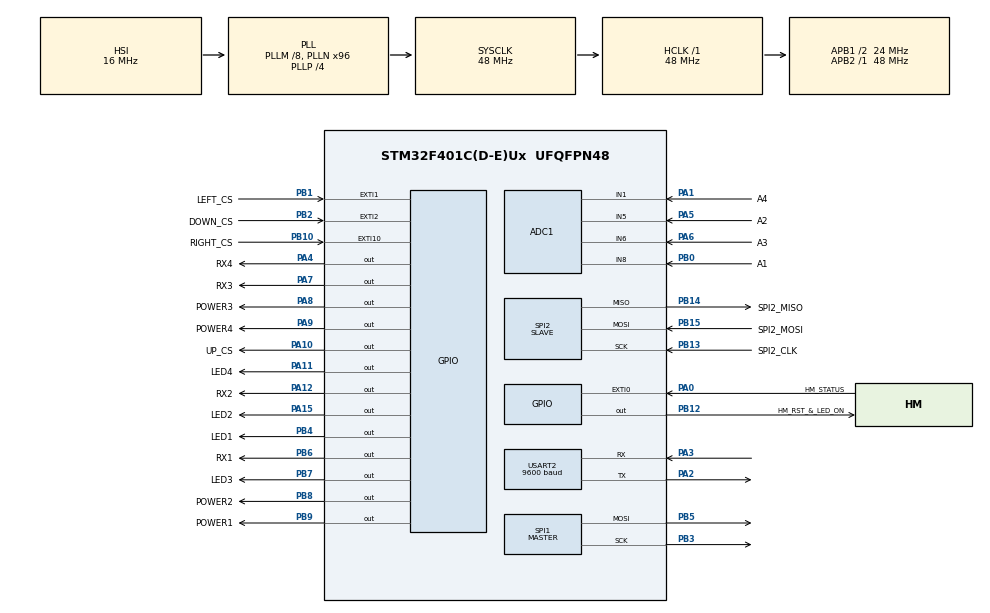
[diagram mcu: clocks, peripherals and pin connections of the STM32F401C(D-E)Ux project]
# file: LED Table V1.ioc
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ADC1.Channel-0\#ChannelRegularConversion=ADC_CHANNEL_8
ADC1.Channel-1\#ChannelRegularConversion=ADC_CHANNEL_5
ADC1.Channel-2\#ChannelRegularConversion=ADC_CHANNEL_6
ADC1.Channel-3\#ChannelRegularConversion=ADC_CHANNEL_1
ADC1.ContinuousConvMode=ENABLE
ADC1.DMAContinuousRequests=DISABLE
ADC1.InjNumberOfConversion=0
ADC1.NbrOfConversion=4
ADC1.NbrOfConversionFlag=1
ADC1.Rank-0\#ChannelRegularConversion=1
ADC1.Rank-1\#ChannelRegularConversion=2
ADC1.Rank-2\#ChannelRegularConversion=3
ADC1.Rank-3\#ChannelRegularConversion=4
ADC1.SamplingTime-0\#ChannelRegularConversion=ADC_SAMPLETIME_3CYCLES
ADC1.SamplingTime-1\#ChannelRegularConversion=ADC_SAMPLETIME_3CYCLES
ADC1.SamplingTime-2\#ChannelRegularConversion=ADC_SAMPLETIME_3CYCLES
ADC1.SamplingTime-3\#ChannelRegularConversion=ADC_SAMPLETIME_3CYCLES
ADC1.master=1
Dma.ADC1.0.Direction=DMA_PERIPH_TO_MEMORY
Dma.ADC1.0.FIFOMode=DMA_FIFOMODE_DISABLE
Dma.ADC1.0.Instance=DMA2_Stream0
Dma.ADC1.0.MemDataAlignment=DMA_MDATAALIGN_WORD
Dma.ADC1.0.MemInc=DMA_MINC_ENABLE
Dma.ADC1.0.Mode=DMA_CIRCULAR
Dma.ADC1.0.PeriphDataAlignment=DMA_PDATAALIGN_WORD
Dma.ADC1.0.PeriphInc=DMA_PINC_DISABLE
Dma.ADC1.0.Priority=DMA_PRIORITY_LOW
Dma.Request0=ADC1
Dma.Request1=SPI1_TX
Dma.Request2=USART2_RX
Dma.SPI1_TX.1.Direction=DMA_MEMORY_TO_PERIPH
Dma.SPI1_TX.1.FIFOMode=DMA_FIFOMODE_DISABLE
Dma.SPI1_TX.1.Instance=DMA2_Stream3
Dma.SPI1_TX.1.MemDataAlignment=DMA_MDATAALIGN_BYTE
Dma.SPI1_TX.1.MemInc=DMA_MINC_ENABLE
Dma.SPI1_TX.1.Mode=DMA_NORMAL
Dma.SPI1_TX.1.PeriphDataAlignment=DMA_PDATAALIGN_BYTE
Dma.SPI1_TX.1.PeriphInc=DMA_PINC_DISABLE
Dma.SPI1_TX.1.Priority=DMA_PRIORITY_LOW
Dma.USART2_RX.2.Direction=DMA_PERIPH_TO_MEMORY
Dma.USART2_RX.2.FIFOMode=DMA_FIFOMODE_DISABLE
Dma.USART2_RX.2.Instance=DMA1_Stream5
Dma.USART2_RX.2.MemDataAlignment=DMA_MDATAALIGN_BYTE
Dma.USART2_RX.2.MemInc=DMA_MINC_ENABLE
Dma.USART2_RX.2.Mode=DMA_NORMAL
Dma.USART2_RX.2.PeriphDataAlignment=DMA_PDATAALIGN_BYTE
Dma.USART2_RX.2.PeriphInc=DMA_PINC_DISABLE
Dma.USART2_RX.2.Priority=DMA_PRIORITY_LOW
Mcu.Family=STM32F4
Mcu.Name=STM32F401C(D-E)Ux
Mcu.Package=UFQFPN48
NVIC.DMA1_Stream5_IRQn=true\:0\:0\:false\:false\:true\:false\:true
NVIC.DMA2_Stream0_IRQn=true\:5\:0\:true\:false\:true\:false\:true
NVIC.DMA2_Stream3_IRQn=true\:0\:0\:false\:false\:true\:false\:true
NVIC.EXTI0_IRQn=true\:15\:0\:true\:false\:true\:true\:true
NVIC.EXTI15_10_IRQn=true\:5\:0\:true\:false\:true\:true\:true
NVIC.EXTI1_IRQn=true\:6\:0\:true\:false\:true\:true\:true
NVIC.EXTI2_IRQn=true\:7\:0\:true\:false\:true\:true\:true
NVIC.PriorityGroup=NVIC_PRIORITYGROUP_4
NVIC.TIM2_IRQn=true\:0\:0\:false\:false\:true\:false\:true
NVIC.TimeBase=TIM2_IRQn
NVIC.TimeBaseIP=TIM2
PA0-WKUP.GPIO_Label=HM_STATUS
PA0-WKUP.GPIO_ModeDefaultEXTI=GPIO_MODE_IT_RISING_FALLING
PA0-WKUP.GPIO_PuPd=GPIO_PULLDOWN
PA0-WKUP.Signal=GPXTI0
PA1.GPIO_Label=A4
PA1.Signal=ADCx_IN1
PA10.GPIO_Label=UP_CS
PA10.GPIO_PuPd=GPIO_PULLUP
PA10.GPIO_Speed=GPIO_SPEED_FREQ_VERY_HIGH
PA10.PinState=GPIO_PIN_SET
PA10.Signal=GPIO_Output
PA11.GPIO_Label=LED4
PA11.GPIO_PuPd=GPIO_PULLDOWN
PA11.GPIO_Speed=GPIO_SPEED_FREQ_VERY_HIGH
PA11.Signal=GPIO_Output
PA12.GPIO_Label=RX2
PA12.GPIO_PuPd=GPIO_PULLDOWN
PA12.GPIO_Speed=GPIO_SPEED_FREQ_VERY_HIGH
PA12.Signal=GPIO_Output
PA13.Signal=SYS_JTMS-SWDIO
PA14.Signal=SYS_JTCK-SWCLK
PA15.GPIO_Label=LED2
PA15.GPIO_PuPd=GPIO_PULLDOWN
PA15.GPIO_Speed=GPIO_SPEED_FREQ_VERY_HIGH
PA15.Signal=GPIO_Output
PA2.Mode=Asynchronous
PA2.Signal=USART2_TX
PA3.Mode=Asynchronous
PA3.Signal=USART2_RX
PA4.GPIO_Label=RX4
PA4.GPIO_PuPd=GPIO_PULLDOWN
PA4.GPIO_Speed=GPIO_SPEED_FREQ_VERY_HIGH
PA4.Signal=GPIO_Output
PA5.GPIO_Label=A2
PA5.Signal=ADCx_IN5
PA6.GPIO_Label=A3
PA6.Signal=ADCx_IN6
PA7.GPIO_Label=RX3
PA7.GPIO_PuPd=GPIO_PULLDOWN
PA7.GPIO_Speed=GPIO_SPEED_FREQ_VERY_HIGH
PA7.Signal=GPIO_Output
PA8.GPIO_Label=POWER3
PA8.GPIO_PuPd=GPIO_PULLDOWN
PA8.GPIO_Speed=GPIO_SPEED_FREQ_VERY_HIGH
PA8.Signal=GPIO_Output
PA9.GPIO_Label=POWER4
PA9.GPIO_PuPd=GPIO_PULLDOWN
PA9.GPIO_Speed=GPIO_SPEED_FREQ_VERY_HIGH
PA9.Signal=GPIO_Output
PB0.GPIO_Label=A1
PB0.Signal=ADCx_IN8
PB1.GPIO_Label=LEFT_CS
PB1.GPIO_ModeDefaultEXTI=GPIO_MODE_IT_FALLING
PB1.GPIO_PuPd=GPIO_PULLUP
PB1.Signal=GPXTI1
PB10.GPIO_Label=RIGHT_CS
PB10.GPIO_ModeDefaultEXTI=GPIO_MODE_IT_FALLING
PB10.GPIO_PuPd=GPIO_PULLUP
PB10.Signal=GPXTI10
PB12.GPIO_Label=HM_RST_&_LED_ON
PB12.GPIO_PuPd=GPIO_PULLDOWN
PB12.Signal=GPIO_Output
PB13.GPIO_Label=SPI2_CLK
PB13.GPIO_PuPd=GPIO_PULLDOWN
PB13.Mode=Full_Duplex_Slave
PB13.Signal=SPI2_SCK
PB14.GPIO_Label=SPI2_MISO
PB14.GPIO_PuPd=GPIO_PULLDOWN
PB14.Mode=Full_Duplex_Slave
PB14.Signal=SPI2_MISO
PB15.GPIO_Label=SPI2_MOSI
PB15.GPIO_PuPd=GPIO_NOPULL
PB15.GPIO_Speed=GPIO_SPEED_FREQ_VERY_HIGH
PB15.Mode=Full_Duplex_Slave
PB15.Signal=SPI2_MOSI
PB2.GPIO_Label=DOWN_CS
PB2.GPIO_ModeDefaultEXTI=GPIO_MODE_IT_FALLING
PB2.GPIO_PuPd=GPIO_PULLUP
PB2.Signal=GPXTI2
PB3.GPIO_PuPd=GPIO_PULLDOWN
PB3.Mode=TX_Only_Simplex_Unidirect_Master
PB3.Signal=SPI1_SCK
PB4.GPIO_Label=LED1
PB4.GPIO_PuPd=GPIO_PULLDOWN
PB4.GPIO_Speed=GPIO_SPEED_FREQ_VERY_HIGH
PB4.Signal=GPIO_Output
PB5.GPIO_PuPd=GPIO_PULLDOWN
PB5.Mode=TX_Only_Simplex_Unidirect_Master
PB5.Signal=SPI1_MOSI
PB6.GPIO_Label=RX1
PB6.GPIO_PuPd=GPIO_PULLDOWN
PB6.GPIO_Speed=GPIO_SPEED_FREQ_VERY_HIGH
PB6.Signal=GPIO_Output
PB7.GPIO_Label=LED3
PB7.GPIO_PuPd=GPIO_PULLDOWN
PB7.GPIO_Speed=GPIO_SPEED_FREQ_VERY_HIGH
PB7.Signal=GPIO_Output
PB8.GPIO_Label=POWER2
PB8.GPIO_PuPd=GPIO_PULLDOWN
PB8.GPIO_Speed=GPIO_SPEED_FREQ_VERY_HIGH
PB8.Signal=GPIO_Output
PB9.GPIO_Label=POWER1
PB9.GPIO_PuPd=GPIO_PULLDOWN
PB9.GPIO_Speed=GPIO_SPEED_FREQ_VERY_HIGH
PB9.Signal=GPIO_Output
ProjectManager.HeapSize=0x200
ProjectManager.StackSize=0x400
ProjectManager.TargetToolchain=STM32CubeIDE
RCC.48MHZClocksFreq_Value=48000000
RCC.AHBFreq_Value=48000000
RCC.APB1CLKDivider=RCC_HCLK_DIV2
RCC.APB1Freq_Value=24000000
RCC.APB1TimFreq_Value=48000000
RCC.APB2Freq_Value=48000000
RCC.APB2TimFreq_Value=48000000
RCC.CortexFreq_Value=48000000
RCC.HCLKFreq_Value=48000000
RCC.HSE_VALUE=25000000
RCC.HSI_VALUE=16000000
RCC.LSE_VALUE=32768
RCC.PLLM=8
RCC.PLLN=96
RCC.PLLP=RCC_PLLP_DIV4
RCC.SYSCLKFreq_VALUE=48000000
RCC.SYSCLKSource=RCC_SYSCLKSOURCE_PLLCLK
RCC.VCOOutputFreq_Value=192000000
SH.ADCx_IN1.0=ADC1_IN1,IN1
SH.ADCx_IN5.0=ADC1_IN5,IN5
SH.ADCx_IN6.0=ADC1_IN6,IN6
SH.ADCx_IN8.0=ADC1_IN8,IN8
SPI1.BaudRatePrescaler=SPI_BAUDRATEPRESCALER_16
SPI1.CLKPhase=SPI_PHASE_2EDGE
SPI1.Direction=SPI_DIRECTION_2LINES
SPI1.FirstBit=SPI_FIRSTBIT_MSB
SPI1.Mode=SPI_MODE_MASTER
SPI1.VirtualType=VM_MASTER
SPI2.CLKPhase=SPI_PHASE_1EDGE
SPI2.CLKPolarity=SPI_POLARITY_LOW
SPI2.Direction=SPI_DIRECTION_2LINES
SPI2.Mode=SPI_MODE_SLAVE
SPI2.VirtualType=VM_SLAVE
TIM1.Period=0xFFFF
TIM1.Prescaler=48
USART2.BaudRate=9600
USART2.VirtualMode=VM_ASYNC
VP_SYS_VS_tim2.Mode=TIM2
VP_TIM1_VS_ClockSourceINT.Mode=Internal
board=custom

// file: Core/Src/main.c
/* USER CODE BEGIN Header */
/**
  ******************************************************************************
  * @file           : main.c
  * @brief          : Main program body
  ******************************************************************************
  * @attention
  *
  * <h2><center>&copy; Copyright (c) 2020 STMicroelectronics.
  * All rights reserved.</center></h2>
  *
  * This software component is licensed by ST under BSD 3-Clause license,
  * the "License"; You may not use this file except in compliance with the
  * License. You may obtain a copy of the License at:
  *                        opensource.org/licenses/BSD-3-Clause
  *
  ******************************************************************************
  */
/* USER CODE END Header */

#include "main.h"
#include "adc.h"
#include "dma.h"
#include "spi.h"
#include "tim.h"
#include "usart.h"
#include "gpio.h"

/* USER CODE BEGIN Includes */
#include "led_panel.h"
#include "ws2812_spi_lib.h"
#include "stm32f4xx_it.h"

#include "fonts.h"

#define CALIB
/* USER CODE END Includes */

/* USER CODE BEGIN PD */

#define THIS_IS_MASTER		0
#define STANDALONE_PANEL	1

#if THIS_IS_MASTER == 1

	uint8_t spi2_mode = SPI2_MASTER;
	uint8_t panel_type = PANEL_CENTRAL;

#else

	uint8_t spi2_mode = SPI2_SLAVE;
	uint8_t panel_type = PANEL_PERIPH;

#endif

uint8_t panel_structure[3];
/* USER CODE END PD */

/* USER CODE BEGIN PV */
//Buffers for TX/RX
uint8_t rx_header[4]   = {0};
uint8_t rx_data[800]   = {0};
uint8_t resp_code[800] = {0};

//Buffer for CLUT Data
uint8_t clut_ram[8] = {0};

//Analog read buffer
uint16_t aval[4][4] = {0};

//Interrupt trigger flag
uint8_t int_trigger = 0;

uint8_t cmd_ready = 0;

//RGB for this panel
struct Color local_panel_colors[4][4] = {0};
//TODO: Replace led_color with local_panel_colors
struct Color led_color[4][4] = {0};
struct Color led_color_set[4][4] = {0};

//Array for last time sensor activated
uint32_t led_last_active[4][4] = {0};
uint32_t led_active[4][4] = {0};

//Binary map of active pixels
uint16_t active_pixel_map = 0;
uint16_t pixel_map = 0;

uint8_t ble_dma = 0;

struct panel_assembly table = {0};

struct Panel_stream panel_stream = {0};

struct panel_profile panel = {0};

uint8_t dummy[100] = {0};

uint8_t ds_int = 0;

uint8_t frame_update = 0;

struct Color ir_color = {0};

uint8_t got_structure = 0;

uint8_t int_source = 0;

uint8_t int_command = 0;

/* USER CODE END PV */

void SystemClock_Config(void);
/* USER CODE BEGIN PFP */

//Used to switch between SPI Master and Slave

void delay_us(uint16_t us);
int bitread(uint8_t byte, uint8_t bit);

void display_8x8_char(char letter, struct panel_assembly * tab);

void display_eye(uint8_t num);
/* USER CODE END PFP */

/* USER CODE BEGIN 0 */
int colorMode = 0;
uint32_t colorModeTime = 0;

/* USER CODE END 0 */

int main(void)
{

  /* MCU Configuration--------------------------------------------------------*/

  /* Reset of all peripherals, Initializes the Flash interface and the Systick. */

	HAL_Init();

  /* Configure the system clock */
  SystemClock_Config();

  /* Initialize all configured peripherals */
  MX_GPIO_Init();
  MX_DMA_Init();
  MX_SPI1_Init();
  MX_USART2_UART_Init();
  MX_ADC1_Init();
  MX_SPI2_Init();
  MX_TIM1_Init();
  /* USER CODE BEGIN 2 */

  //Set default panel colors
  for(int y = 0; y < 4; y++){

	  for(int x = 0; x < 4; x++){

//		  if(y%2){
//
//			  if(x%2){
//
//				  led_color_set[x][y].red = 30;
//
//			  }
//			  else{
//
//				  led_color_set[x][y].green = 30;
//
//			  }
//
//		  }
//		  else{
//
//			  if(x%2){
//
//				  led_color_set[x][y].green = 30;
//
//			  }
//			  else{
//
//				  led_color_set[x][y].red = 30;
//
//			  }
//
//		  }

		  //led_color_set[x][y].blue = 50;
		  led_color_set[x][y].red = 50;

	  }

  }

  for(int x = 0; x < 800; x++){

	  resp_code[x] = RESP_CODE;

  }

  table.panel = &panel;

  if(panel_type == PANEL_CENTRAL){

	  set_spi2_mode(SPI2_MASTER);

	  //Configure GPIOS fo CS output
	  GPIO_InitTypeDef GPIO_InitStruct = {0};

	  HAL_GPIO_DeInit(GPIOB, LEFT_CS_Pin|RIGHT_CS_Pin|DOWN_CS_Pin);

	  GPIO_InitStruct.Pin = LEFT_CS_Pin|RIGHT_CS_Pin|DOWN_CS_Pin;

	  GPIO_InitStruct.Mode = GPIO_MODE_OUTPUT_PP;
	  GPIO_InitStruct.Pull = GPIO_PULLUP;
	  GPIO_InitStruct.Speed = GPIO_SPEED_FREQ_VERY_HIGH;
	  HAL_GPIO_Init(GPIOB, &GPIO_InitStruct);
	  GPIOB->BSRR = RIGHT_CS_Pin;
	  GPIOB->BSRR = LEFT_CS_Pin;
	  GPIOB->PUPDR |= 0x02 << 26;
	  //HAL_NVIC_DisableIRQ(EXTI0_IRQn);

  }else{

	  	table.colors_tx = clut_ram;
		GPIOB->MODER &= ~(0x3F << 26);
		GPIOB->PUPDR &= ~(0x3F << 26);
		GPIOB->PUPDR |= 0x02 << 28;
		GPIOB->PUPDR |= 0x02 << 26;
	//  HAL_Delay(1000);

  }

  //Set LED sensitivity
  table.led_sensitivity = 120;
  table.panel->red = 0;
  table.panel->green = 10;
  table.panel->blue = 10;
  ir_color.green = 20;
  ir_color.blue = 20;
  //RESET HM11 and enable LEDs
  HAL_GPIO_WritePin(GPIOB, HM_RST___LED_ON_Pin, GPIO_PIN_SET);
  HAL_Delay(500);
  HAL_GPIO_WritePin(GPIOB, HM_RST___LED_ON_Pin, GPIO_PIN_RESET);
  HAL_Delay(500);
  HAL_GPIO_WritePin(GPIOB, HM_RST___LED_ON_Pin, GPIO_PIN_SET);

  HAL_Delay(100);
  struct Led_pixels pixels[NUM_PIXELS];

  clear_pixels(pixels);
	HAL_Delay(10);
	show_pixels(pixels);
	HAL_Delay(10);

uint8_t panel_pix_in[16*3] = {0};
uint8_t panel_pix_out[16*3] = {0};

uint32_t my_tick = 0;
uint16_t aval[4][4];

uint8_t container = 0;
int round = 0;
uint32_t last_update = 0;

HAL_TIM_Base_Start(&htim1);

//Clear current LEDs
clear_pixels(pixels);
show_pixels(pixels);

HAL_Delay(500);

#if THIS_IS_MASTER == 1

HAL_Delay(15000);

#endif

int last_cnt = 0;
int diff = 0;
  /* USER CODE END 2 */

  /* Infinite loop */
  /* USER CODE BEGIN WHILE */
  while (1)
  {

	  char my_name[] = "RODNEY";

//Read all IR Values
if(panel_type == PANEL_CENTRAL){

HAL_Delay(3000);

//while(1){
	  got_structure = get_panel_structure();

	  table.num_panels = rx_data[0];
	  table.x = rx_data[1];
	  table.y = rx_data[2];

	  if(table.num_panels == 0){

	  	  table.num_panels = 1;

	  }
	  if(table.num_panels > 25 ){

	  	table.num_panels = 25;

	  }

	  //allocate memory for tx pixels
	  int len = 8 * (table.x * table.y);

	  free(table.colors_tx);

	  table.colors_tx = (uint8_t *)malloc(sizeof(uint8_t) * len);

	  free(table.all_active_pixels);

	  table.all_active_pixels = (uint8_t *)malloc(sizeof(uint16_t) * table.num_panels);

	  for(int i = 0; i < sizeof(uint16_t) * table.num_panels; i++)
	  {

		  table.all_active_pixels[i] = 0;

	  }

	  for(int i = 0; i < len; i++){

	  	  table.colors_tx[i] = 0;

	  }

	  for(int x = 0; x < table.num_panels; x++){

		  set_pixel_color(pixels, x, 20, 0, 0);

		  if(last_cnt != table.num_panels){

			  set_pixel_color(pixels, x, 0, 0, 20);

		  }
	  }
	    HAL_Delay(1);
		show_pixels(pixels);
		HAL_Delay(5);
		clear_pixels(pixels);
		HAL_Delay(5);
		if(last_cnt != table.num_panels){

			HAL_Delay(30);
			last_cnt = table.num_panels;

		}

//}

	get_local_ir();

	show_ir();

	set_panel_pixels(pixels, led_color);

	set_panel_clut(pixels, table.colors_tx);
	delay_us(10);
//	HAL_Delay(1);
	show_pixels(pixels);
	delay_us(50);
//	HAL_Delay(1);
	clear_pixels(pixels);
	delay_us(10);

#ifdef CALIB
if(HAL_GetTick() - last_update > 200){

		last_update = HAL_GetTick();

//	uint8_t chara[24];
//
//	for (int j; j < 24; j++){
//
//		chara[j] = table.colors_tx[j];
//	}

if(!got_structure){

while(1){

//	HAL_Delay(1);

//	get_active_pixels();
//
//	for(int x = 0; x < 4; x++){
//
//		for(int y = 0; y < 4; y++){
//
//			uint8_t bite = 0;
//
//			int b_read = 0;
//
//			if(x < 2){
//
//				bite = table.all_active_pixels[2];
//
//				b_read = bitread(bite, ((x*4) + y));
//
//			}
//			else{
//
//				bite = table.all_active_pixels[1];
//
//				b_read = bitread(bite, (((x - 2)*4) + y));
//
//			}
//
//
//			if(b_read){
//
//				set_collective_pixels((x) ,y, 0x5, &table);
//
//			}
//			else{
//
//				set_collective_pixels((x) ,y, 0x0, &table);
//
//			}
//
//
//
//		}
//
//	}

//		for(int i = 0; i < 6; i ++){
//
//	    display_8x8_char(my_name[i], &table);
//		set_panel_clut(pixels, table.colors_tx);
//		show_pixels(pixels);
//		update_panel_pixels();
//		clear_pixels(pixels);
//		HAL_Delay(900);
//		}

	play_pong();

	set_panel_clut(pixels, table.colors_tx);
	delay_us(10);
//	HAL_Delay(1);
	show_pixels(pixels);
	delay_us(50);
//	HAL_Delay(1);
	clear_pixels(pixels);
	delay_us(10);

}
//
//	set_collective_pixels(5,0, 0x2, &table);
//	set_collective_pixels(0,0, 0x2, &table);
//
//	update_panel_pixels();
//
//	set_panel_clut(pixels, table.colors_tx);
//
//	show_pixels(pixels);
//
//	clear_pixels(pixels);

//while(1){
//	HAL_Delay(100);
//
//	for(int i = 0; i < 6; i ++){
//
//  display_8x8_char(my_name[i]);
//	set_panel_clut(pixels, table.colors_tx);
//	show_pixels(pixels);
//	update_panel_pixels();
//	clear_pixels(pixels);
//	HAL_Delay(900);
//	}
//	}

}

}
#endif

show_pixels(pixels);
}

if(panel_type == PANEL_PERIPH){

#if STANDALONE_PANEL == 0

////Wait for int trigger flag
	while(!int_command){}

	switch(rx_header[HEADER_CMD]){

		case PANEL_GET_POS_CMD: panel_get_pos_cmd(rx_header, rx_data, int_source);
			break;

		case PANEL_SET_PIXEL_CMD: panel_chain_pixel_cmd(rx_header, rx_data);
			break;

		case PANEL_SET_AUTO_CMD: panel_set_auto(rx_header, rx_data);
			break;

		case PANEL_GET_PIX_CMD: panel_get_pix_cmd(rx_header, rx_data);
			break;

		default: //useless = 0;
			break;

	}

	SPI2->CR1 &= ~(SPI_CR1_SPE);

	int_command = 0;

	int_source = 0;

#endif

	if( 1){

#if STANDALONE_PANEL == 0

		//Set panel pixels to clut received from master
		set_panel_clut(pixels, table.colors_tx);

#endif

		//Get IR map from THIS panel
		get_local_ir();

		//load the LED_Color array with calculated color values
		show_ir();

#if STANDALONE_PANEL == 1

		//transfer the led_color to the pixels array
		set_panel_pixels(pixels, led_color);

#endif

		HAL_Delay(1);

		//send pixels out to LEDs
		show_pixels(pixels);

		HAL_Delay(1);

		//clear pixels array
		clear_pixels(pixels);

		frame_update = 0;

		if(HAL_GetTick() - colorModeTime > 5000)
		{

			colorModeTime = HAL_GetTick();

			colorMode++;

			if(colorMode >= 6){

				colorMode = 0;

			}

		}

		//Set default panel colors
		for(int y = 0; y < 4; y++){

		  for(int x = 0; x < 4; x++){

			  led_color_set[x][y].red = 0;
			  led_color_set[x][y].green = 0;
			  led_color_set[x][y].blue = 0;

			  switch(colorMode){

				  case 0: led_color_set[x][y].red   = 50;
					  break;

				  case 1: led_color_set[x][y].blue  = 50;
					  break;

				  case 2: led_color_set[x][y].green = 50;
					  break;

				  case 3: led_color_set[x][y].red   = 50;
				  	  	  led_color_set[x][y].green = 50;
					  break;

				  case 4: led_color_set[x][y].red  = 50;
				  	  	  led_color_set[x][y].blue = 50;
					  break;

				  case 5: led_color_set[x][y].green = 50;
				  	  	  led_color_set[x][y].blue  = 50;
					  break;

			  }

		  }

		}

	}

}

    /* USER CODE END WHILE */

  }
}

void SystemClock_Config(void)
{
  RCC_OscInitTypeDef RCC_OscInitStruct = {0};
  RCC_ClkInitTypeDef RCC_ClkInitStruct = {0};

  /** Configure the main internal regulator output voltage
  */
  __HAL_RCC_PWR_CLK_ENABLE();
  __HAL_PWR_VOLTAGESCALING_CONFIG(PWR_REGULATOR_VOLTAGE_SCALE2);
  /** Initializes the CPU, AHB and APB busses clocks
  */
  RCC_OscInitStruct.OscillatorType = RCC_OSCILLATORTYPE_HSI;
  RCC_OscInitStruct.HSIState = RCC_HSI_ON;
  RCC_OscInitStruct.HSICalibrationValue = RCC_HSICALIBRATION_DEFAULT;
  RCC_OscInitStruct.PLL.PLLState = RCC_PLL_ON;
  RCC_OscInitStruct.PLL.PLLSource = RCC_PLLSOURCE_HSI;
  RCC_OscInitStruct.PLL.PLLM = 8;
  RCC_OscInitStruct.PLL.PLLN = 96;
  RCC_OscInitStruct.PLL.PLLP = RCC_PLLP_DIV4;
  RCC_OscInitStruct.PLL.PLLQ = 4;
  if (HAL_RCC_OscConfig(&RCC_OscInitStruct) != HAL_OK)
  {
    Error_Handler();
  }
  /** Initializes the CPU, AHB and APB busses clocks
  */
  RCC_ClkInitStruct.ClockType = RCC_CLOCKTYPE_HCLK|RCC_CLOCKTYPE_SYSCLK
                              |RCC_CLOCKTYPE_PCLK1|RCC_CLOCKTYPE_PCLK2;
  RCC_ClkInitStruct.SYSCLKSource = RCC_SYSCLKSOURCE_PLLCLK;
  RCC_ClkInitStruct.AHBCLKDivider = RCC_SYSCLK_DIV1;
  RCC_ClkInitStruct.APB1CLKDivider = RCC_HCLK_DIV2;
  RCC_ClkInitStruct.APB2CLKDivider = RCC_HCLK_DIV1;

  if (HAL_RCC_ClockConfig(&RCC_ClkInitStruct, FLASH_LATENCY_1) != HAL_OK)
  {
    Error_Handler();
  }
}

/* USER CODE BEGIN 4 */
void HAL_UART_RxCpltCallback(UART_HandleTypeDef * huart2){

	ble_dma = 1;

}

void HAL_SPI_RxCpltCallback (SPI_HandleTypeDef * hspi){

//	  GPIOA->BSRR = UP_CS_Pin;
////	 HAL_SPI_DMAStop(&hspi2);
//int ret;
//	 if(dummy[0] == 0xC && dummy[1] == 0xD && dma_stopped == 2){
//
//
//		 ret = HAL_SPI_TransmitReceive(&hspi2, (uint8_t *)led_color,(uint8_t *)rx_color, (16*3), 1000);
//		dma_stopped = 1;
//
////	HAL_SPI_Receive_DMA (&hspi2, (uint8_t *)rx_color, (16*3));
//
//	 }
//	 else if(dma_stopped == 1){
//
//		dma_stopped = 0;
//
//		//Turn off SPI
//	//	SPI2->CR1 &= ~(SPI_CR1_SPE);
//
//	 }

//	memcpy(rx_spi, spirx, sizeof(struct Color) * 16);

}

void set_spi2_mode(uint8_t mode){

	//If master mode
	if(mode == SPI2_MASTER){

		spi2_mode = SPI2_MASTER;
//
//		RCC->APB1ENR |= RCC_APB1ENR_SPI2EN;
//
//		RCC->AHB1ENR |= RCC_AHB1ENR_GPIOBEN;
//
//		GPIOB->MODER  |= (GPIO_MODER_MODE13_1 | GPIO_MODER_MODE14_1 |  GPIO_MODER_MODE15_1);
//		GPIOB->AFR[1] |= (GPIO_AFRH_AFSEL13_0 | GPIO_AFRH_AFSEL13_2 | GPIO_AFRH_AFSEL14_0 | GPIO_AFRH_AFSEL14_2 | GPIO_AFRH_AFSEL15_0 | GPIO_AFRH_AFSEL15_2);
//
//		SPI2->CR1 = (SPI_CR1_MSTR |(0x03 << 5)| SPI_CR1_SSI | SPI_CR1_SSM);
//		SPI2->CR2 = 0x0;
//		SPI2->CR1 &= ~SPI_CR1_SPE;

		 // HAL_SPI_DeInit(&hspi2);

			__HAL_RCC_SPI2_CLK_ENABLE();

//		  GPIO_InitTypeDef GPIO_InitStruct = {0};
//
//		    GPIO_InitStruct.Pin = SPI2_CLK_Pin|SPI2_MISO_Pin|SPI2_MOSI_Pin;
//		    GPIO_InitStruct.Mode = GPIO_MODE_AF_PP;
//		    GPIO_InitStruct.Pull = GPIO_NOPULL;
//		    GPIO_InitStruct.Speed = GPIO_SPEED_FREQ_VERY_HIGH;
//		    GPIO_InitStruct.Alternate = GPIO_AF5_SPI2;
//		    HAL_GPIO_Init(GPIOB, &GPIO_InitStruct);

			//while (!(SPI2->SR & SPI_SR_TXE_Msk ));

			//Reset SPI Peripheral
			RCC->APB1RSTR |= RCC_APB1RSTR_SPI2RST;
			RCC->APB1RSTR &= ~RCC_APB1RSTR_SPI2RST;

			SPI2->CR1 |= ~SPI_CR1_SPE;

			  hspi2.Instance = SPI2;
			  hspi2.Init.Mode = SPI_MODE_MASTER;
			  hspi2.Init.Direction = SPI_DIRECTION_2LINES;
			  hspi2.Init.DataSize = SPI_DATASIZE_8BIT;
			  hspi2.Init.CLKPolarity = SPI_POLARITY_LOW;
			  hspi2.Init.CLKPhase = SPI_PHASE_1EDGE;
			  hspi2.Init.NSS = SPI_NSS_SOFT;
			  hspi2.Init.BaudRatePrescaler = SPI_BAUDRATEPRESCALER_32;
			  hspi2.Init.FirstBit = SPI_FIRSTBIT_MSB;
			  hspi2.Init.TIMode = SPI_TIMODE_DISABLE;
			  hspi2.Init.CRCCalculation = SPI_CRCCALCULATION_DISABLE;
			  hspi2.Init.CRCPolynomial = 10;

			  if (HAL_SPI_Init(&hspi2) != HAL_OK)
			  {
			    Error_Handler();
			  }
			  //GPIOB->MODER &= ~(0x3 << 28);
		  set_panel_output();
	}

	else if(mode == SPI2_SLAVE){

		spi2_mode = SPI2_SLAVE;

		RCC->APB1RSTR |= RCC_APB1RSTR_SPI2RST;
		RCC->APB1RSTR &= ~RCC_APB1RSTR_SPI2RST;

		GPIO_InitTypeDef GPIO_InitStruct = {0};

		HAL_SPI_MspDeInit(&hspi2);

		__HAL_RCC_SPI2_CLK_ENABLE();

		GPIO_InitStruct.Pin = SPI2_CLK_Pin|SPI2_MISO_Pin|SPI2_MOSI_Pin;
		GPIO_InitStruct.Mode = GPIO_MODE_AF_PP;
		GPIO_InitStruct.Pull = GPIO_PULLDOWN;
		GPIO_InitStruct.Speed = GPIO_SPEED_FREQ_VERY_HIGH;
		GPIO_InitStruct.Alternate = GPIO_AF5_SPI2;
		HAL_GPIO_Init(GPIOB, &GPIO_InitStruct);

		hspi2.Instance = SPI2;
		hspi2.Init.Mode = SPI_MODE_SLAVE;
		hspi2.Init.Direction = SPI_DIRECTION_2LINES;
		hspi2.Init.DataSize = SPI_DATASIZE_8BIT;
		hspi2.Init.CLKPolarity = SPI_POLARITY_LOW;
		hspi2.Init.CLKPhase = SPI_PHASE_1EDGE;
		hspi2.Init.NSS = SPI_NSS_SOFT;
		hspi2.Init.FirstBit = SPI_FIRSTBIT_MSB;
		hspi2.Init.TIMode = SPI_TIMODE_DISABLE;
		hspi2.Init.CRCCalculation = SPI_CRCCALCULATION_DISABLE;
		hspi2.Init.CRCPolynomial = 10;
		if (HAL_SPI_Init(&hspi2) != HAL_OK)
		{
		Error_Handler();
		}

	}

}

void delay_us(uint16_t us)
{
	uint32_t timval = 0;
	TIM1->CNT = 0;
	while (TIM1->CNT < us){

		timval = TIM1->CNT;

	};  // wait for the counter to reach the us input in the parameter
}

int bitread(uint8_t byte, uint8_t bit){

	int retval = (byte >> bit) & (0x01);

	return retval;

};

void display_8x8_char(char letter, struct panel_assembly * tab){

	for(int y = 0; y < 8; y++){

		for(int x = 0; x < 8; x++){

			if(bitread(font8x8_basic[((uint8_t)letter)][y], x)){

				set_collective_pixels(x,7-y, 0x1, tab);

			}
			else{

				set_collective_pixels(x,7-y, 0x0, tab);

			}

		}

	}

}

void display_eye(uint8_t num){

	for(int y = 0; y < 8; y++){

		for(int x = 0; x < 8; x++){

			if(bitread(eye_map[((uint8_t)num)][y], x)){

				set_collective_pixels(x,7-y, 0xF, &table);

			}
			else{

				set_collective_pixels(x,7-y, 0x0, &table);

			}

		}

	}

}

/* USER CODE END 4 */

 /**
  * @brief  Period elapsed callback in non blocking mode
  * @note   This function is called  when TIM2 interrupt took place, inside
  * HAL_TIM_IRQHandler(). It makes a direct call to HAL_IncTick() to increment
  * a global variable "uwTick" used as application time base.
  * @param  htim : TIM handle
  * @retval None
  */
void HAL_TIM_PeriodElapsedCallback(TIM_HandleTypeDef *htim)
{
  if (htim->Instance == TIM2) {
    HAL_IncTick();
  }
}

void Error_Handler(void)
{
}

/************************ (C) COPYRIGHT STMicroelectronics *****END OF FILE****/
